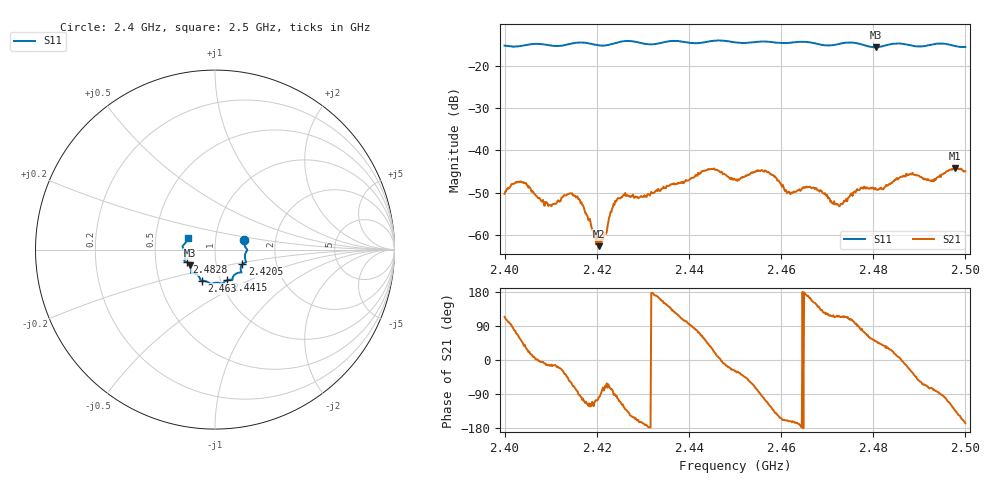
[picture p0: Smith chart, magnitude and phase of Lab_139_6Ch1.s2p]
# Hz S RI R 50
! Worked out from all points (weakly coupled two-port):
!   601 points, 2.4 GHz to 2.5 GHz, reference 50 ohm
!   highest |S21| = -44.22 dB at 2.4977 GHz (marker M1); lowest = -62.6 dB at 2.4205 GHz (marker M2)
!   lowest |S11| = -15.7 dB at 2.4805 GHz (marker M3), VSWR 1.39, Z = 37.3 - j6.68 ohm
!   |S11| at or under -10 dB: start of sweep to end of sweep
!   S12 and S22 are empty: the file has one direction only
!   S11 on the Smith chart (normalised r, x): 2.4 GHz: 1.38, +0.15; 2.4205 GHz: 1.34, -0.23; 2.4415 GHz: 1.07, -0.38; 2.463 GHz: 0.82, -0.29; 2.4828 GHz: 0.72, -0.10; 2.5 GHz: 0.73, +0.10
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2.4e9  0.1639 0.0517  -0.00125 0.00281  0 0  0 0
2.4035e9  0.169 0.0139  0.00257 0.00347  0 0  0 0
2.409833e9  0.1721 -0.0144  0.00219 -0.000603  0 0  0 0
2.414167e9  0.1696 -0.059  0.00177 -0.00257  0 0  0 0
2.416667e9  0.1732 -0.0699  -0.000341 -0.00242  0 0  0 0
2.4205e9  0.1521 -0.0819  -9.93e-05 -0.000737  0 0  0 0
2.4245e9  0.1449 -0.1186  -0.00054 -0.00264  0 0  0 0
2.433333e9  0.1005 -0.1513  -0.00342 0.000852  0 0  0 0
2.4415e9  0.0657 -0.171  0.000943 0.00508  0 0  0 0
2.445e9  0.0433 -0.1898  0.00518 0.00306  0 0  0 0
2.45e9  0.0241 -0.1858  0.00397 -0.00224  0 0  0 0
2.456333e9  -0.0224 -0.1907  -0.00121 -0.00548  0 0  0 0
2.463e9  -0.0723 -0.1737  -0.00315 -0.000804  0 0  0 0
2.466667e9  -0.0821 -0.1667  -0.00326 0.00147  0 0  0 0
2.472333e9  -0.1215 -0.1308  -0.000935 0.0021  0 0  0 0
2.477667e9  -0.1313 -0.1175  0.000825 0.00354  0 0  0 0
2.4805e9  -0.1389 -0.0872  0.00232 0.00276  0 0  0 0
2.482833e9  -0.1586 -0.0699  0.00317 0.00231  0 0  0 0
2.483333e9  -0.1625 -0.068  0.00342 0.002  0 0  0 0
2.493e9  -0.1778 0.00955  0.000884 -0.00439  0 0  0 0
2.497667e9  -0.1663 0.0356  -0.00411 -0.00458  0 0  0 0
2.5e9  -0.1527 0.0645  -0.00551 -0.00132  0 0  0 0
